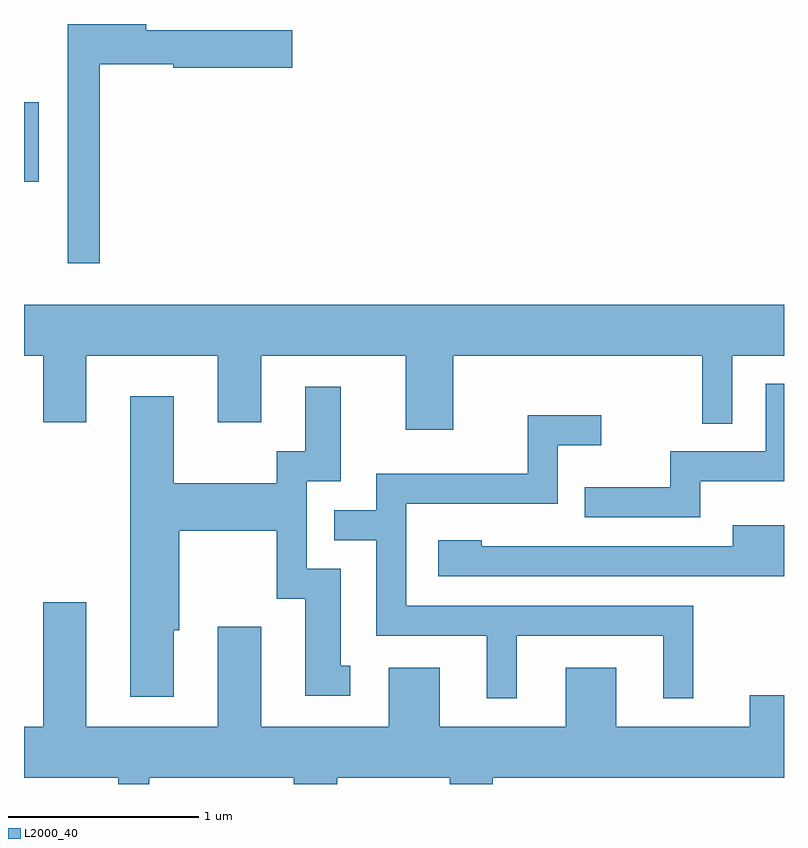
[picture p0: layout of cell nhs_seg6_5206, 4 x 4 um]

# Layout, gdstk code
import gdstk
lib = gdstk.Library(unit=1e-6, precision=1e-09)
def R(c, l, rs):  # rectangles x0, y0, x1, y1
    for r in rs: c.add(gdstk.rectangle(r[:2], r[2:], *l))
def P(c, l, *ps):  # polygons
    for p in ps: c.add(gdstk.Polygon(p, *l))
L2000_40 = (2000, 40)

nhs_seg6_5206 = lib.new_cell('nhs_seg6_5206')
R(nhs_seg6_5206, L2000_40, [(343.611,1615.331,343.689,1615.749)])
P(nhs_seg6_5206, L2000_40, [(344.009,1615.951),(344.396,1615.951),(344.396,1615.931),(345.024,1615.931),(345.024,1616.129),(344.254,1616.129),(344.254,1616.162),(343.841,1616.162),(343.841,1614.903),(344.009,1614.903)],
  [(345.869,1614.416),(347.181,1614.416),(347.181,1614.058),(347.339,1614.058),(347.339,1614.416),(347.611,1614.416),(347.611,1614.684),(343.611,1614.684),(343.611,1614.416),(343.711,1614.416),(343.711,1614.066),(343.939,1614.066),(343.939,1614.416),(344.631,1614.416),(344.631,1614.066),(344.859,1614.066),(344.859,1614.416),(345.621,1614.416),(345.621,1614.026),(345.869,1614.026)],
  [(347.169,1613.756),(347.611,1613.756),(347.611,1614.268),(347.516,1614.268),(347.516,1613.914),(347.011,1613.914),(347.011,1613.724),(346.563,1613.724),(346.563,1613.566),(347.169,1613.566)],
  [(344.399,1612.971),(344.429,1612.971),(344.429,1613.496),(344.941,1613.496),(344.941,1613.136),(345.091,1613.136),(345.091,1612.626),(345.328,1612.626),(345.328,1612.784),(345.279,1612.784),(345.279,1613.294),(345.099,1613.294),(345.099,1613.756),(345.279,1613.756),(345.279,1614.254),(345.091,1614.254),(345.091,1613.914),(344.941,1613.914),(344.941,1613.744),(344.399,1613.744),(344.399,1614.204),(344.171,1614.204),(344.171,1612.621),(344.399,1612.621)],
  [(346.204,1612.941),(346.976,1612.941),(346.976,1612.613),(347.134,1612.613),(347.134,1613.099),(345.624,1613.099),(345.624,1613.636),(346.419,1613.636),(346.419,1613.946),(346.648,1613.946),(346.648,1614.104),(346.261,1614.104),(346.261,1613.794),(345.466,1613.794),(345.466,1613.604),(345.243,1613.604),(345.243,1613.446),(345.466,1613.446),(345.466,1612.941),(346.046,1612.941),(346.046,1612.613),(346.204,1612.613)],
  [(347.611,1613.524),(347.341,1613.524),(347.341,1613.414),(346.019,1613.414),(346.019,1613.444),(345.791,1613.444),(345.791,1613.256),(347.611,1613.256)],
  [(345.799,1612.774),(345.531,1612.774),(345.531,1612.464),(344.859,1612.464),(344.859,1612.989),(344.631,1612.989),(344.631,1612.464),(343.939,1612.464),(343.939,1613.119),(343.711,1613.119),(343.711,1612.464),(343.611,1612.464),(343.611,1612.196),(344.106,1612.196),(344.106,1612.162),(344.269,1612.162),(344.269,1612.196),(345.031,1612.196),(345.031,1612.162),(345.259,1612.162),(345.259,1612.196),(345.851,1612.196),(345.851,1612.162),(346.079,1612.162),(346.079,1612.196),(347.611,1612.196),(347.611,1612.629),(347.431,1612.629),(347.431,1612.464),(346.729,1612.464),(346.729,1612.774),(346.461,1612.774),(346.461,1612.464),(345.799,1612.464)])

lib.write_gds('nhs_seg6_5206.gds')
